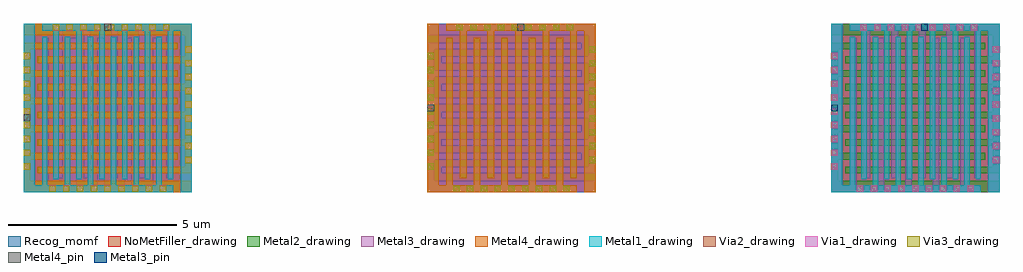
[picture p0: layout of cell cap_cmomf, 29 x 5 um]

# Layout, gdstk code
import gdstk
lib = gdstk.Library(unit=1e-6, precision=1e-09)
def R(c, l, rs):  # rectangles x0, y0, x1, y1
    for r in rs: c.add(gdstk.rectangle(r[:2], r[2:], *l))
def A(c, l, x, y, w, h, nx, ny, dx, dy):  # array of equal rectangles
    R(c, l, [(x+i*dx, y+j*dy, x+i*dx+w, y+j*dy+h) for i in range(nx) for j in range(ny)])
Metal1_drawing = (8, 0)
Metal2_drawing = (10, 0)
Via1_drawing = (19, 0)
Via2_drawing = (29, 0)
Metal3_drawing = (30, 0)
Metal3_pin = (30, 2)
Via3_drawing = (49, 0)
Metal4_drawing = (50, 0)
Metal4_pin = (50, 2)
Recog_momf = (99, 40)
NoMetFiller_drawing = (160, 0)

cap_cmomf_1 = lib.new_cell('cap_cmomf$1')
A(cap_cmomf_1, Metal1_drawing, 0.55, 0, 0.16, 4.61, 6, 1, 0.68, 0)
A(cap_cmomf_1, Metal1_drawing, 0.89, 0.39, 0.16, 4.61, 6, 1, 0.68, 0)
R(cap_cmomf_1, Metal1_drawing, [(0,0,0.33,5), (0,0,4.45,0.21), (4.67,0,5,5), (0.55,4.79,5,5)])
A(cap_cmomf_1, Metal2_drawing, 0.42, 0.555, 4.58, 0.2, 1, 5, 0, 0.82)
A(cap_cmomf_1, Metal2_drawing, 0, 0.965, 4.58, 0.2, 1, 5, 0, 0.82)
R(cap_cmomf_1, Metal2_drawing, [(0,0,5,0.345), (0,0,0.205,4.445), (4.795,0.555,5,5), (0,4.655,5,5)])
A(cap_cmomf_1, Via1_drawing, 0.765, 0.01, 0.19, 0.19, 9, 1, 0.41, 0)
A(cap_cmomf_1, Via1_drawing, 0.01, 0.665, 0.19, 0.19, 1, 9, 0, 0.41)
A(cap_cmomf_1, Via1_drawing, 4.8, 0.865, 0.19, 0.19, 1, 9, 0, 0.41)
A(cap_cmomf_1, Via1_drawing, 0.865, 4.8, 0.19, 0.19, 9, 1, 0.41, 0)
A(cap_cmomf_1, Via2_drawing, 0.765, 0.005, 0.19, 0.19, 9, 1, 0.41, 0)
A(cap_cmomf_1, Via2_drawing, 0.005, 0.665, 0.19, 0.19, 1, 9, 0, 0.41)
A(cap_cmomf_1, Via2_drawing, 4.805, 0.865, 0.19, 0.19, 1, 9, 0, 0.41)
A(cap_cmomf_1, Via2_drawing, 0.865, 4.805, 0.19, 0.19, 9, 1, 0.41, 0)
A(cap_cmomf_1, Metal3_drawing, 0.555, 0, 0.2, 4.59, 5, 1, 0.82, 0)
A(cap_cmomf_1, Metal3_drawing, 0.965, 0.41, 0.2, 4.59, 5, 1, 0.82, 0)
R(cap_cmomf_1, Metal3_drawing, [(0,0,0.345,5), (0,0,4.445,0.2), (4.655,0,5,5), (0.555,4.8,5,5)])
A(cap_cmomf_1, Via3_drawing, 0.765, 0.005, 0.19, 0.19, 9, 1, 0.41, 0)
A(cap_cmomf_1, Via3_drawing, 0.005, 0.665, 0.19, 0.19, 1, 9, 0, 0.41)
A(cap_cmomf_1, Via3_drawing, 4.805, 0.865, 0.19, 0.19, 1, 9, 0, 0.41)
A(cap_cmomf_1, Via3_drawing, 0.865, 4.805, 0.19, 0.19, 9, 1, 0.41, 0)
A(cap_cmomf_1, Metal4_drawing, 0.41, 0.555, 4.59, 0.2, 1, 5, 0, 0.82)
A(cap_cmomf_1, Metal4_drawing, 0, 0.965, 4.59, 0.2, 1, 5, 0, 0.82)
R(cap_cmomf_1, Metal4_drawing, [(0,0,5,0.345), (0,0,0.2,4.445), (4.8,0.555,5,5), (0,4.655,5,5)])
R(cap_cmomf_1, Metal4_pin, [(0,2.12,0.2,2.32), (2.4,4.8,2.6,5)])
R(cap_cmomf_1, Recog_momf, [(0,0,5,5)])
R(cap_cmomf_1, NoMetFiller_drawing, [(0,0,5,5)])
cap_cmomf_1.add(gdstk.Label('cap_cmomf C=32.175fF', (0,-0.5), layer=63, texttype=0))

cap_cmomf_2 = lib.new_cell('cap_cmomf$2')
A(cap_cmomf_2, Metal2_drawing, 0.555, 0, 0.2, 4.585, 5, 1, 0.82, 0)
A(cap_cmomf_2, Metal2_drawing, 0.965, 0.415, 0.2, 4.585, 5, 1, 0.82, 0)
R(cap_cmomf_2, Metal2_drawing, [(0,0,0.345,5), (0,0,4.445,0.2), (4.655,0,5,5), (0.555,4.8,5,5)])
A(cap_cmomf_2, Via2_drawing, 0.765, 0.005, 0.19, 0.19, 9, 1, 0.41, 0)
A(cap_cmomf_2, Via2_drawing, 0.005, 0.665, 0.19, 0.19, 1, 9, 0, 0.41)
A(cap_cmomf_2, Via2_drawing, 4.805, 0.865, 0.19, 0.19, 1, 9, 0, 0.41)
A(cap_cmomf_2, Via2_drawing, 0.865, 4.805, 0.19, 0.19, 9, 1, 0.41, 0)
A(cap_cmomf_2, Metal3_drawing, 0.41, 0.555, 4.59, 0.2, 1, 5, 0, 0.82)
A(cap_cmomf_2, Metal3_drawing, 0, 0.965, 4.59, 0.2, 1, 5, 0, 0.82)
R(cap_cmomf_2, Metal3_drawing, [(0,0,5,0.345), (0,0,0.2,4.445), (4.8,0.555,5,5), (0,4.655,5,5)])
A(cap_cmomf_2, Via3_drawing, 0.765, 0.005, 0.19, 0.19, 9, 1, 0.41, 0)
A(cap_cmomf_2, Via3_drawing, 0.005, 0.665, 0.19, 0.19, 1, 9, 0, 0.41)
A(cap_cmomf_2, Via3_drawing, 4.805, 0.865, 0.19, 0.19, 1, 9, 0, 0.41)
A(cap_cmomf_2, Via3_drawing, 0.865, 4.805, 0.19, 0.19, 9, 1, 0.41, 0)
A(cap_cmomf_2, Metal4_drawing, 0.555, 0, 0.2, 4.59, 5, 1, 0.82, 0)
A(cap_cmomf_2, Metal4_drawing, 0.965, 0.41, 0.2, 4.59, 5, 1, 0.82, 0)
R(cap_cmomf_2, Metal4_drawing, [(0,0,0.345,5), (0,0,4.445,0.2), (4.655,0,5,5), (0.555,4.8,5,5)])
R(cap_cmomf_2, Metal4_pin, [(0,2.4,0.2,2.6), (2.675,4.8,2.875,5)])
R(cap_cmomf_2, Recog_momf, [(0,0,5,5)])
R(cap_cmomf_2, NoMetFiller_drawing, [(0,0,5,5)])
cap_cmomf_2.add(gdstk.Label('cap_cmomf C=22.875fF', (0,-0.5), layer=63, texttype=0))

cap_cmomf_3 = lib.new_cell('cap_cmomf$3')
A(cap_cmomf_3, Metal1_drawing, 0.55, 0, 0.16, 4.61, 6, 1, 0.68, 0)
A(cap_cmomf_3, Metal1_drawing, 0.89, 0.39, 0.16, 4.61, 6, 1, 0.68, 0)
R(cap_cmomf_3, Metal1_drawing, [(0,0,0.33,5), (0,0,4.45,0.21), (4.67,0,5,5), (0.55,4.79,5,5)])
A(cap_cmomf_3, Metal2_drawing, 0.42, 0.555, 4.58, 0.2, 1, 5, 0, 0.82)
A(cap_cmomf_3, Metal2_drawing, 0, 0.965, 4.58, 0.2, 1, 5, 0, 0.82)
R(cap_cmomf_3, Metal2_drawing, [(0,0,5,0.345), (0,0,0.205,4.445), (4.795,0.555,5,5), (0,4.655,5,5)])
A(cap_cmomf_3, Via1_drawing, 0.765, 0.01, 0.19, 0.19, 9, 1, 0.41, 0)
A(cap_cmomf_3, Via1_drawing, 0.01, 0.665, 0.19, 0.19, 1, 9, 0, 0.41)
A(cap_cmomf_3, Via1_drawing, 4.8, 0.865, 0.19, 0.19, 1, 9, 0, 0.41)
A(cap_cmomf_3, Via1_drawing, 0.865, 4.8, 0.19, 0.19, 9, 1, 0.41, 0)
A(cap_cmomf_3, Via2_drawing, 0.765, 0.005, 0.19, 0.19, 9, 1, 0.41, 0)
A(cap_cmomf_3, Via2_drawing, 0.005, 0.665, 0.19, 0.19, 1, 9, 0, 0.41)
A(cap_cmomf_3, Via2_drawing, 4.805, 0.865, 0.19, 0.19, 1, 9, 0, 0.41)
A(cap_cmomf_3, Via2_drawing, 0.865, 4.805, 0.19, 0.19, 9, 1, 0.41, 0)
A(cap_cmomf_3, Metal3_drawing, 0.555, 0, 0.2, 4.59, 5, 1, 0.82, 0)
A(cap_cmomf_3, Metal3_drawing, 0.965, 0.41, 0.2, 4.59, 5, 1, 0.82, 0)
R(cap_cmomf_3, Metal3_drawing, [(0,0,0.345,5), (0,0,4.445,0.2), (4.655,0,5,5), (0.555,4.8,5,5)])
R(cap_cmomf_3, Metal3_pin, [(0,2.4,0.2,2.6), (2.675,4.8,2.875,5)])
R(cap_cmomf_3, Recog_momf, [(0,0,5,5)])
R(cap_cmomf_3, NoMetFiller_drawing, [(0,0,5,5)])
cap_cmomf_3.add(gdstk.Label('cap_cmomf C=24.550fF', (0,-0.5), layer=63, texttype=0))

cap_cmomf = lib.new_cell('cap_cmomf')
cap_cmomf.add(gdstk.Reference(cap_cmomf_1, (0,0)))
cap_cmomf.add(gdstk.Reference(cap_cmomf_2, (12,0)))
cap_cmomf.add(gdstk.Reference(cap_cmomf_3, (24,0)))

lib.write_gds('cap_cmomf.gds')
